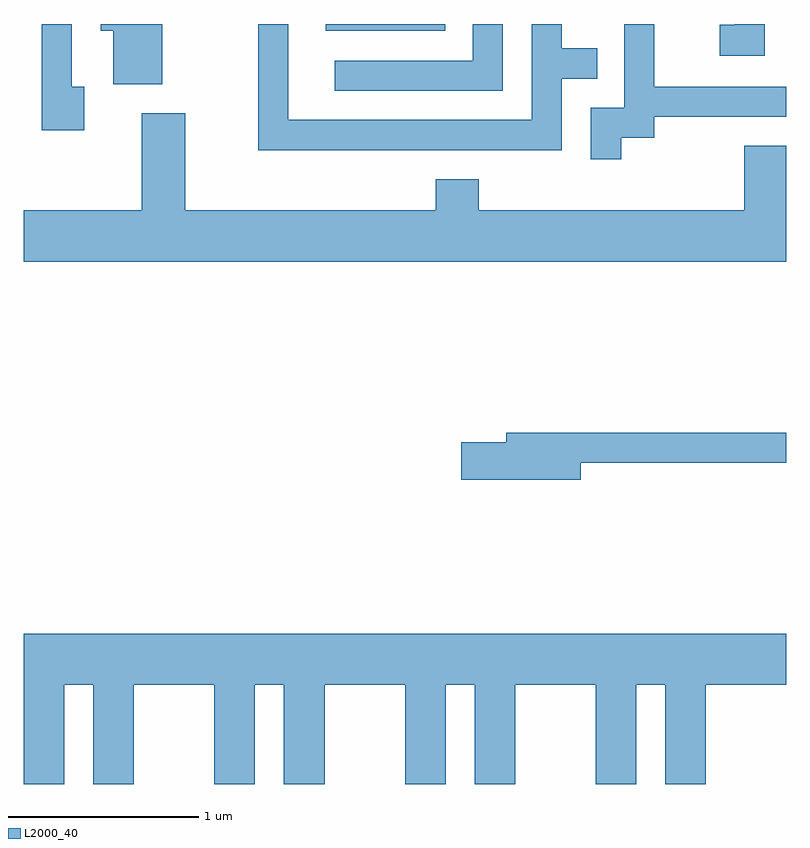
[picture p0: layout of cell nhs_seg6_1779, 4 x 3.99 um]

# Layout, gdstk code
import gdstk
lib = gdstk.Library(unit=1e-6, precision=1e-09)
def R(c, l, rs):  # rectangles x0, y0, x1, y1
    for r in rs: c.add(gdstk.rectangle(r[:2], r[2:], *l))
def P(c, l, *ps):  # polygons
    for p in ps: c.add(gdstk.Polygon(p, *l))
L2000_40 = (2000, 40)

nhs_seg6_1779 = lib.new_cell('nhs_seg6_1779')
R(nhs_seg6_1779, L2000_40, [(241.196,1560.126,241.823,1560.162)])
P(nhs_seg6_1779, L2000_40, [(242.434,1559.876),(242.618,1559.876),(242.618,1560.034),(242.434,1560.034),(242.434,1560.162),(242.276,1560.162),(242.276,1559.659),(240.999,1559.659),(240.999,1560.162),(240.841,1560.162),(240.841,1559.501),(242.434,1559.501)],
  [(243.499,1560.162),(243.341,1560.162),(243.341,1560.159),(243.263,1560.159),(243.263,1559.996),(243.499,1559.996)],
  [(239.929,1559.834),(239.864,1559.834),(239.864,1560.162),(239.706,1560.162),(239.706,1559.606),(239.929,1559.606)],
  [(242.744,1559.566),(242.919,1559.566),(242.919,1559.676),(243.611,1559.676),(243.611,1559.834),(242.919,1559.834),(242.919,1560.162),(242.761,1560.162),(242.761,1559.724),(242.586,1559.724),(242.586,1559.453),(242.744,1559.453)],
  [(240.339,1560.162),(240.016,1560.162),(240.016,1560.126),(240.081,1560.126),(240.081,1559.846),(240.339,1559.846)],
  [(242.124,1560.162),(241.966,1560.162),(241.966,1559.969),(241.243,1559.969),(241.243,1559.811),(242.124,1559.811)],
  [(243.611,1559.524),(243.391,1559.524),(243.391,1559.184),(241.999,1559.184),(241.999,1559.349),(241.771,1559.349),(241.771,1559.184),(240.459,1559.184),(240.459,1559.694),(240.231,1559.694),(240.231,1559.184),(239.611,1559.184),(239.611,1558.916),(243.611,1558.916)],
  [(242.534,1557.861),(243.611,1557.861),(243.611,1558.019),(242.141,1558.019),(242.141,1557.969),(241.906,1557.969),(241.906,1557.771),(242.534,1557.771)],
  [(239.824,1556.696),(239.976,1556.696),(239.976,1556.176),(240.189,1556.176),(240.189,1556.696),(240.611,1556.696),(240.611,1556.176),(240.824,1556.176),(240.824,1556.696),(240.976,1556.696),(240.976,1556.176),(241.189,1556.176),(241.189,1556.696),(241.611,1556.696),(241.611,1556.176),(241.824,1556.176),(241.824,1556.696),(241.976,1556.696),(241.976,1556.176),(242.189,1556.176),(242.189,1556.696),(242.611,1556.696),(242.611,1556.176),(242.824,1556.176),(242.824,1556.696),(242.976,1556.696),(242.976,1556.176),(243.189,1556.176),(243.189,1556.696),(243.611,1556.696),(243.611,1556.964),(239.611,1556.964),(239.611,1556.176),(239.824,1556.176)])

lib.write_gds('nhs_seg6_1779.gds')
